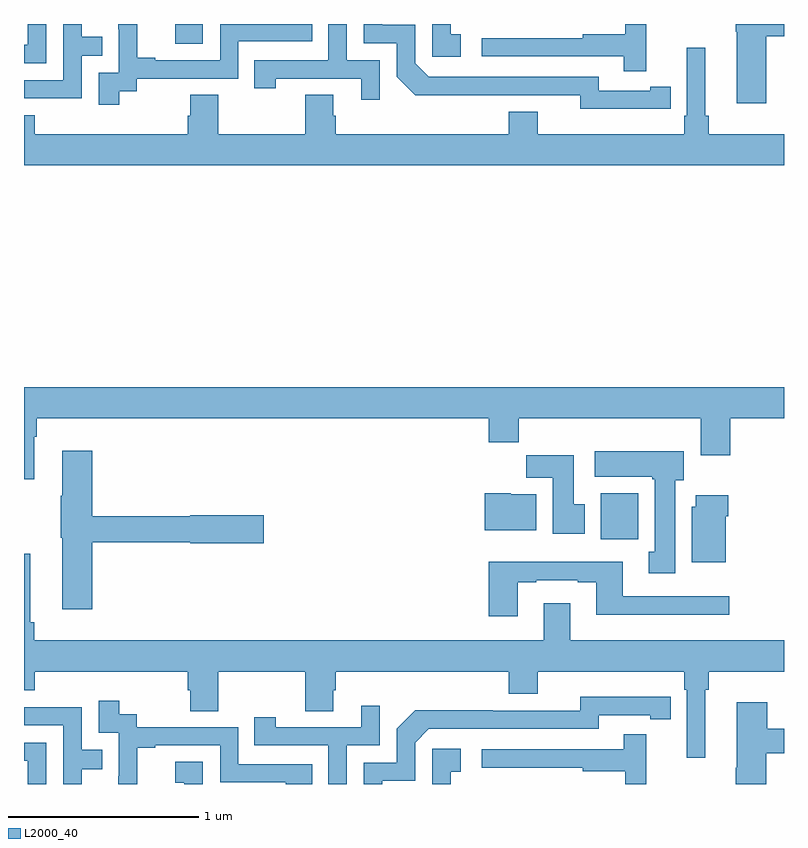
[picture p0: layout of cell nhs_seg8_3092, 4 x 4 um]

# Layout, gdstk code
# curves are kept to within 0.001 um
import gdstk
lib = gdstk.Library(unit=1e-6, precision=1e-09)
def R(c, l, rs):  # rectangles x0, y0, x1, y1
    for r in rs: c.add(gdstk.rectangle(r[:2], r[2:], *l))
def P(c, l, *ps):  # polygons
    for p in ps: c.add(gdstk.Polygon(p, *l))
L2000_40 = (2000, 40)

nhs_seg8_3092 = lib.new_cell('nhs_seg8_3092')
R(nhs_seg8_3092, L2000_40, [(306.035,1125.188,306.232,1125.43), (303.795,1127.796,303.942,1127.9)])
P(nhs_seg8_3092, L2000_40, [(306.906,1127.836),(307,1127.836),(307,1127.9),(306.745,1127.9),(306.745,1127.859),(306.752,1127.859),(306.752,1127.484),(306.906,1127.484)],
  [(303.303,1127.733),(303.413,1127.733),(303.413,1127.834),(303.303,1127.834),(303.303,1127.9),(303.207,1127.9),(303.207,1127.604),(303,1127.604),(303,1127.508),(303.303,1127.508)],
  [(305.299,1127.847),(305.246,1127.847),(305.246,1127.9),(305.148,1127.9),(305.148,1127.727),(305.299,1127.727)],
  [(304.872,1127.709),(304.698,1127.709),(304.698,1127.9),(304.602,1127.9),(304.602,1127.709),(304.213,1127.709),(304.213,1127.562),(304.324,1127.562),(304.324,1127.613),(304.775,1127.613),(304.775,1127.502),(304.872,1127.502)],
  [(306.296,1127.454),(306.404,1127.454),(306.404,1127.57),(306.296,1127.57),(306.296,1127.55),(306.024,1127.55),(306.024,1127.622),(305.13,1127.622),(305.058,1127.694),(305.058,1127.895),(304.885,1127.895),(304.885,1127.9),(304.788,1127.9),(304.788,1127.799),(304.962,1127.799),(304.962,1127.622),(305.06,1127.525),(305.928,1127.526),(305.928,1127.453)],
  [(306.275,1127.9),(306.165,1127.9),(306.165,1127.846),(305.941,1127.846),(305.941,1127.826),(305.409,1127.826),(305.409,1127.73),(306.157,1127.73),(306.157,1127.652),(306.275,1127.652)],
  [(303.117,1127.9),(303.021,1127.9),(303.021,1127.79),(303,1127.79),(303,1127.694),(303.117,1127.694)],
  [(303.502,1127.545),(303.594,1127.545),(303.594,1127.613),(304.128,1127.613),(304.128,1127.808),(304.517,1127.808),(304.517,1127.9),(304.032,1127.9),(304.032,1127.709),(303.691,1127.709),(303.691,1127.722),(303.596,1127.722),(303.596,1127.9),(303.497,1127.9),(303.497,1127.873),(303.498,1127.873),(303.498,1127.643),(303.393,1127.643),(303.393,1127.475),(303.502,1127.475)],
  [(307,1127.32),(306.605,1127.32),(306.605,1127.416),(306.586,1127.416),(306.586,1127.776),(306.489,1127.776),(306.489,1127.416),(306.476,1127.416),(306.476,1127.32),(305.704,1127.32),(305.704,1127.437),(305.552,1127.437),(305.552,1127.32),(304.64,1127.32),(304.64,1127.418),(304.627,1127.418),(304.627,1127.528),(304.48,1127.528),(304.48,1127.32),(304.023,1127.32),(304.023,1127.528),(303.875,1127.528),(303.875,1127.418),(303.863,1127.418),(303.863,1127.32),(303.056,1127.32),(303.056,1127.419),(303,1127.419),(303,1127.156),(307,1127.156)],
  [(303.055,1125.728),(303.068,1125.728),(303.068,1125.824),(305.447,1125.824),(305.447,1125.7),(305.603,1125.7),(305.603,1125.824),(306.563,1125.824),(306.563,1125.63),(306.716,1125.63),(306.716,1125.824),(307,1125.824),(307,1125.988),(303,1125.988),(303,1125.504),(303.055,1125.504)],
  [(303.359,1125.172),(303.876,1125.172),(303.876,1125.167),(304.261,1125.167),(304.261,1125.314),(303.876,1125.314),(303.876,1125.308),(303.359,1125.308),(303.359,1125.655),(303.2,1125.655),(303.2,1125.416),(303.193,1125.416),(303.193,1125.195),(303.2,1125.195),(303.2,1124.82),(303.359,1124.82)],
  [(306.427,1125.498),(306.472,1125.498),(306.472,1125.652),(306.003,1125.652),(306.003,1125.518),(306.307,1125.518),(306.307,1125.505),(306.32,1125.505),(306.32,1125.122),(306.287,1125.122),(306.287,1125.009),(306.427,1125.009)],
  [(305.95,1125.372),(305.893,1125.372),(305.893,1125.631),(305.644,1125.631),(305.644,1125.512),(305.783,1125.512),(305.783,1125.216),(305.95,1125.216)],
  [(305.695,1125.424),(305.562,1125.424),(305.562,1125.43),(305.426,1125.43),(305.426,1125.236),(305.695,1125.236)],
  [(306.694,1125.308),(306.707,1125.308),(306.707,1125.421),(306.536,1125.421),(306.536,1125.36),(306.515,1125.36),(306.515,1125.068),(306.694,1125.068)],
  [(306.586,1124.396),(306.605,1124.396),(306.605,1124.492),(307,1124.492),(307,1124.656),(305.875,1124.656),(305.875,1124.851),(305.735,1124.851),(305.735,1124.656),(303.053,1124.656),(303.053,1124.752),(303.034,1124.752),(303.034,1125.112),(303,1125.112),(303,1124.393),(303.056,1124.393),(303.056,1124.492),(303.863,1124.492),(303.863,1124.394),(303.875,1124.394),(303.875,1124.284),(304.023,1124.284),(304.023,1124.492),(304.48,1124.492),(304.48,1124.284),(304.627,1124.284),(304.627,1124.394),(304.64,1124.394),(304.64,1124.492),(305.552,1124.492),(305.552,1124.375),(305.704,1124.375),(305.704,1124.492),(306.476,1124.492),(306.476,1124.396),(306.489,1124.396),(306.489,1124.037),(306.586,1124.037)],
  [(305.599,1124.961),(305.695,1124.961),(305.695,1124.973),(305.915,1124.973),(305.915,1124.961),(306.011,1124.961),(306.011,1124.792),(306.712,1124.792),(306.712,1124.889),(306.151,1124.889),(306.151,1125.07),(305.447,1125.07),(305.447,1124.784),(305.599,1124.784)],
  [(304.885,1123.917),(305.058,1123.917),(305.058,1124.118),(305.13,1124.19),(306.024,1124.19),(306.024,1124.262),(306.296,1124.262),(306.296,1124.242),(306.404,1124.242),(306.404,1124.358),(305.928,1124.359),(305.928,1124.286),(305.468,1124.286),(305.468,1124.288),(305.06,1124.288),(304.962,1124.19),(304.962,1124.013),(304.788,1124.013),(304.788,1123.9),(304.885,1123.9)],
  [(303.596,1124.091),(303.691,1124.091),(303.691,1124.103),(304.032,1124.103),(304.032,1123.908),(304.377,1123.908),(304.377,1123.9),(304.517,1123.9),(304.517,1124.004),(304.128,1124.004),(304.128,1124.199),(303.594,1124.199),(303.594,1124.268),(303.502,1124.268),(303.502,1124.338),(303.393,1124.338),(303.393,1124.169),(303.498,1124.169),(303.498,1123.94),(303.497,1123.94),(303.497,1123.9),(303.596,1123.9)],
  [(306.906,1124.062),(307,1124.062),(307,1124.191),(306.911,1124.191),(306.911,1124.329),(306.752,1124.329),(306.752,1123.985),(306.745,1123.985),(306.745,1123.9),(306.906,1123.9)],
  [(304.698,1124.103),(304.872,1124.103),(304.872,1124.311),(304.775,1124.311),(304.775,1124.199),(304.324,1124.199),(304.324,1124.251),(304.213,1124.251),(304.213,1124.103),(304.602,1124.103),(304.602,1123.9),(304.698,1123.9)],
  [(303.303,1123.978),(303.413,1123.978),(303.413,1124.079),(303.303,1124.079),(303.303,1124.304),(303,1124.304),(303,1124.208),(303.207,1124.208),(303.207,1123.9),(303.303,1123.9)],
  [(306.275,1124.161),(306.157,1124.161),(306.157,1124.082),(305.409,1124.082),(305.409,1123.986),(305.941,1123.986),(305.941,1123.966),(306.165,1123.966),(306.165,1123.9),(306.275,1123.9)],
  [(303.117,1124.118),(303,1124.118),(303,1124.022),(303.021,1124.022),(303.021,1123.9),(303.117,1123.9)],
  [(305.246,1123.965),(305.299,1123.965),(305.299,1124.086),(305.148,1124.086),(305.148,1123.9),(305.246,1123.9)],
  [(303.942,1124.017),(303.795,1124.017),(303.795,1123.907),(303.844,1123.907),(303.844,1123.9),(303.942,1123.9)])

lib.write_gds('nhs_seg8_3092.gds')
